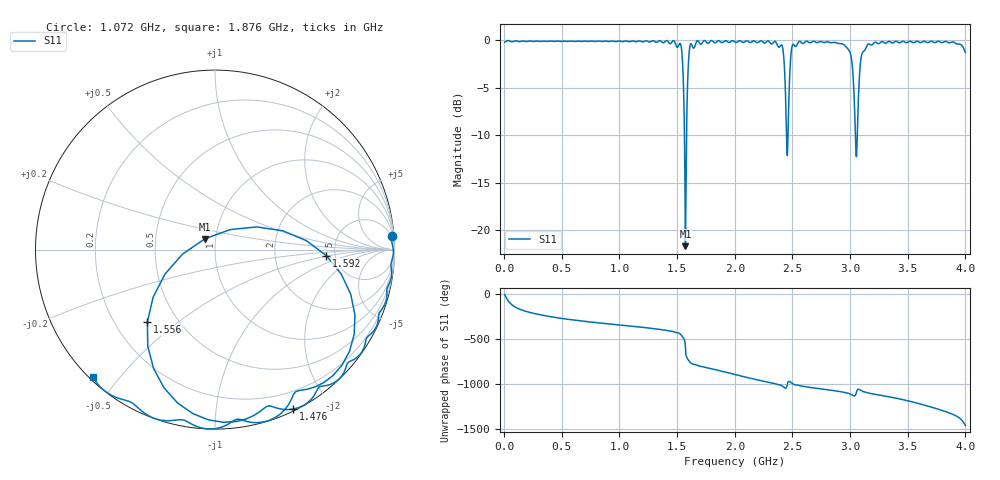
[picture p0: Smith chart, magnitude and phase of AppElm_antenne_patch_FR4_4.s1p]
! TOUCHSTONE file generated by CST MICROWAVE STUDIO
! Date and time: Tue Jun  7 20:32:29 2022
! Project name: AppElm_antenne_patch_FR4.cst
! Parameters = {L=45; W=58.5; e=0.035; h=1.6; lambda=0.190476; ls=120; w0=1.6; w1=0.533333; ws=120; y0=18; y1=23.8095}
! Header version: 2018
! Port assignment regex: !\s*Touchstone port\s*([0-9]+)\s*=\s*(CST MWS port|CST DS port)\s*([0-9]+|Zmin|Zmax)\s*\(\"(.*)\"\)(\s*mode\s*([0-9]+))?.*
! Touchstone port assignment:
! Touchstone port 1 = CST MWS port 1 ("")
# GHz S MA R 50
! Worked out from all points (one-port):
!   1000 points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, 4 MHz to 4 GHz, reference 50 ohm
!   lowest |S11| = -21.7 dB at 1.572 GHz (marker M1), VSWR 1.18, Z = 44.4 + j5.35 ohm
!   |S11| at or under -10 dB: 1.564 GHz to 1.582 GHz (18.08 MHz wide, 1.15 % of centre); 2.449 GHz to 2.461 GHz (12.54 MHz wide, 0.511 % of centre); 3.046 GHz to 3.062 GHz (16.37 MHz wide, 0.536 % of centre)
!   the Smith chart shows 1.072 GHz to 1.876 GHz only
!   S11 on the Smith chart (normalised r, x): 1.072 GHz: 4, +26; 1.476 GHz: 0.02, -1.60; 1.556 GHz: 0.34, -0.39; 1.592 GHz: 4.22, -0.46; 1.876 GHz: 0.01, -0.43
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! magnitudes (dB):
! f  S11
! 4 MHz  -0.2
! 504 MHz  -0.1
! 1.004 GHz  -0.1
! 1.072 GHz  -0.1
! 1.476 GHz  -0.1
! 1.504 GHz  -0.7
! 1.536 GHz  -0.7
! 1.544 GHz  -1.7
! 1.556 GHz  -5.2
! 1.572 GHz  -21.7
! 1.592 GHz  -4.1
! 1.604 GHz  -1.3
! 1.624 GHz  -0.4
! 1.876 GHz  -0.1
! 2.004 GHz  -0.2
! 2.4 GHz  -0.5
! 2.42 GHz  -1.2
! 2.444 GHz  -7.5
! 2.456 GHz  -12.1
! 2.504 GHz  -0.4
! 2.872 GHz  -0.2
! 3.004 GHz  -1.4
! 3.044 GHz  -9.2
! 3.056 GHz  -12.3
! 3.096 GHz  -1.8
! 3.128 GHz  -1.0
! 3.504 GHz  -0.2
! 4 GHz  -1.3
